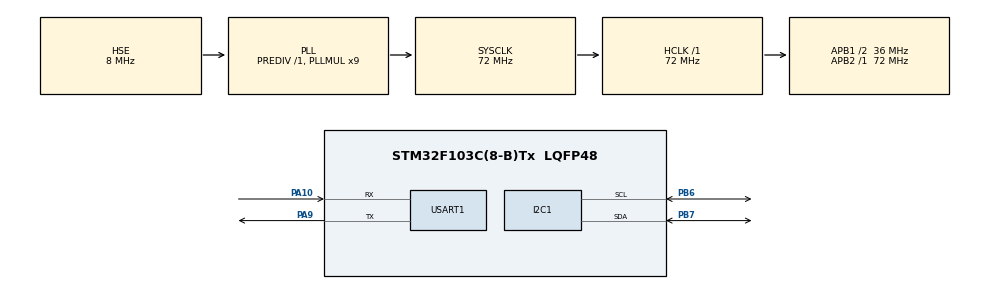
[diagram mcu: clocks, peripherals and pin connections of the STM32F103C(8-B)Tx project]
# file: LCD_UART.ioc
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Mcu.Family=STM32F1
Mcu.Name=STM32F103C(8-B)Tx
Mcu.Package=LQFP48
NVIC.PriorityGroup=NVIC_PRIORITYGROUP_4
NVIC.USART1_IRQn=true\:1\:0\:true\:false\:true\:true\:true\:true
PA10.Mode=Asynchronous
PA10.Signal=USART1_RX
PA13.Mode=Serial_Wire
PA13.Signal=SYS_JTMS-SWDIO
PA14.Mode=Serial_Wire
PA14.Signal=SYS_JTCK-SWCLK
PA9.Mode=Asynchronous
PA9.Signal=USART1_TX
PB6.Mode=I2C
PB6.Signal=I2C1_SCL
PB7.Mode=I2C
PB7.Signal=I2C1_SDA
PD0-OSC_IN.Mode=HSE-External-Oscillator
PD0-OSC_IN.Signal=RCC_OSC_IN
PD1-OSC_OUT.Mode=HSE-External-Oscillator
PD1-OSC_OUT.Signal=RCC_OSC_OUT
ProjectManager.HeapSize=0x200
ProjectManager.StackSize=0x400
ProjectManager.TargetToolchain=CMake
RCC.AHBFreq_Value=72000000
RCC.APB1CLKDivider=RCC_HCLK_DIV2
RCC.APB1Freq_Value=36000000
RCC.APB1TimFreq_Value=72000000
RCC.APB2Freq_Value=72000000
RCC.APB2TimFreq_Value=72000000
RCC.HCLKFreq_Value=72000000
RCC.PLLMUL=RCC_PLL_MUL9
RCC.PLLSourceVirtual=RCC_PLLSOURCE_HSE
RCC.SYSCLKFreq_VALUE=72000000
RCC.SYSCLKSource=RCC_SYSCLKSOURCE_PLLCLK
RCC.USBFreq_Value=72000000
USART1.VirtualMode=VM_ASYNC
board=custom

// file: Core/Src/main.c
/* USER CODE BEGIN Header */
/**
 ******************************************************************************
 * @file           : main.c
 * @brief          : Main program body
 ******************************************************************************
 * @attention
 *
 * Copyright (c) 2025 STMicroelectronics.
 * All rights reserved.
 *
 * This software is licensed under terms that can be found in the LICENSE file
 * in the root directory of this software component.
 * If no LICENSE file comes with this software, it is provided AS-IS.
 *
 ******************************************************************************
 */
/* USER CODE END Header */
#include "main.h"

/* USER CODE BEGIN Includes */
#include "LCD_I2C.h"
#include "UART_Handle.h"
#include "stdio.h"
/* USER CODE END Includes */

I2C_HandleTypeDef hi2c1;

UART_HandleTypeDef huart1;

/* USER CODE BEGIN PV */
uint8_t data_rx;
LCD_HandleTypeDef hlcd1;
char uart_buffer[17] = "";
uint8_t buffer_index = 0;
/* USER CODE END PV */

void SystemClock_Config(void);
static void MX_GPIO_Init(void);
static void MX_I2C1_Init(void);
static void MX_USART1_UART_Init(void);

/* USER CODE BEGIN 0 */
void HAL_UART_RxCpltCallback(UART_HandleTypeDef *huart)
{
  if (huart->Instance == huart1.Instance)
  {
    UART_Receive_Rx(&data_rx);
    HAL_UART_Receive_IT(&huart1, &data_rx, 1);
  }
}
/* USER CODE END 0 */

int main(void)
{

  /* MCU Configuration--------------------------------------------------------*/

  /* Reset of all peripherals, Initializes the Flash interface and the Systick. */
  HAL_Init();

  /* Configure the system clock */
  SystemClock_Config();

  /* Initialize all configured peripherals */
  MX_GPIO_Init();
  MX_I2C1_Init();
  MX_USART1_UART_Init();
  /* USER CODE BEGIN 2 */
  HAL_UART_Receive_IT(&huart1, &data_rx, 1);
  UART_Handle_Init();

  /* LCD Init */
  LCD_Init(&hlcd1, &hi2c1, LCD_ADDR);
  LCD_Display(&hlcd1);
  LCD_Backlight(&hlcd1);
  LCD_Clear_Display(&hlcd1);

  LCD_SetCursor(&hlcd1, 0, 0);
  LCD_Print(&hlcd1, "UART LCD");

  /* USER CODE END 2 */

  /* Infinite loop */
  while (1)
  {

    /* USER CODE BEGIN 3 */
    if (UART_Handle_Available() > 0)
    {
      uint8_t received_data = UART_Handle_Read();

      // Chỉ thêm ký tự in được vào buffer
      if (received_data >= 32 && received_data <= 126 && buffer_index < 16)
      {
        uart_buffer[buffer_index++] = received_data;
        uart_buffer[buffer_index] = '\0'; // Luôn kết thúc chuỗi
      }

      // Reset buffer khi nhận Enter hoặc đầy
      if (received_data == '\r' || received_data == '\n' || buffer_index >= 16)
      {
        // Hiển thị chuỗi đã nhận trước khi reset
        LCD_Clear_Display(&hlcd1);
        LCD_SetCursor(&hlcd1, 0, 0);
        LCD_Print(&hlcd1, "Received:");
        LCD_SetCursor(&hlcd1, 0, 1);
        LCD_Print(&hlcd1, uart_buffer);

        // Reset buffer
        buffer_index = 0;
        uart_buffer[0] = '\0';

        HAL_Delay(2000); // Hiển thị trong 2 giây
        LCD_Clear_Display(&hlcd1);
        LCD_SetCursor(&hlcd1, 0, 0);
        LCD_Print(&hlcd1, "Ready...");
      }
      else
      {
        // Hiển thị tạm thời ký tự vừa nhận
        LCD_Clear_Display(&hlcd1);
        LCD_SetCursor(&hlcd1, 0, 0);
        LCD_Print(&hlcd1, "Typing:");
        LCD_SetCursor(&hlcd1, 0, 1);
        LCD_Print(&hlcd1, uart_buffer);
      }

      HAL_UART_Transmit(&huart1, &received_data, 1, 1000);
    }
    HAL_Delay(10);
  }
  /* USER CODE END 3 */
}

void SystemClock_Config(void)
{
  RCC_OscInitTypeDef RCC_OscInitStruct = {0};
  RCC_ClkInitTypeDef RCC_ClkInitStruct = {0};

  /** Initializes the RCC Oscillators according to the specified parameters
   * in the RCC_OscInitTypeDef structure.
   */
  RCC_OscInitStruct.OscillatorType = RCC_OSCILLATORTYPE_HSE;
  RCC_OscInitStruct.HSEState = RCC_HSE_ON;
  RCC_OscInitStruct.HSEPredivValue = RCC_HSE_PREDIV_DIV1;
  RCC_OscInitStruct.HSIState = RCC_HSI_ON;
  RCC_OscInitStruct.PLL.PLLState = RCC_PLL_ON;
  RCC_OscInitStruct.PLL.PLLSource = RCC_PLLSOURCE_HSE;
  RCC_OscInitStruct.PLL.PLLMUL = RCC_PLL_MUL9;
  if (HAL_RCC_OscConfig(&RCC_OscInitStruct) != HAL_OK)
  {
    Error_Handler();
  }

  /** Initializes the CPU, AHB and APB buses clocks
   */
  RCC_ClkInitStruct.ClockType = RCC_CLOCKTYPE_HCLK | RCC_CLOCKTYPE_SYSCLK | RCC_CLOCKTYPE_PCLK1 | RCC_CLOCKTYPE_PCLK2;
  RCC_ClkInitStruct.SYSCLKSource = RCC_SYSCLKSOURCE_PLLCLK;
  RCC_ClkInitStruct.AHBCLKDivider = RCC_SYSCLK_DIV1;
  RCC_ClkInitStruct.APB1CLKDivider = RCC_HCLK_DIV2;
  RCC_ClkInitStruct.APB2CLKDivider = RCC_HCLK_DIV1;

  if (HAL_RCC_ClockConfig(&RCC_ClkInitStruct, FLASH_LATENCY_2) != HAL_OK)
  {
    Error_Handler();
  }
}

static void MX_I2C1_Init(void)
{

  hi2c1.Instance = I2C1;
  hi2c1.Init.ClockSpeed = 100000;
  hi2c1.Init.DutyCycle = I2C_DUTYCYCLE_2;
  hi2c1.Init.OwnAddress1 = 0;
  hi2c1.Init.AddressingMode = I2C_ADDRESSINGMODE_7BIT;
  hi2c1.Init.DualAddressMode = I2C_DUALADDRESS_DISABLE;
  hi2c1.Init.OwnAddress2 = 0;
  hi2c1.Init.GeneralCallMode = I2C_GENERALCALL_DISABLE;
  hi2c1.Init.NoStretchMode = I2C_NOSTRETCH_DISABLE;
  if (HAL_I2C_Init(&hi2c1) != HAL_OK)
  {
    Error_Handler();
  }
}

static void MX_USART1_UART_Init(void)
{

  huart1.Instance = USART1;
  huart1.Init.BaudRate = 115200;
  huart1.Init.WordLength = UART_WORDLENGTH_8B;
  huart1.Init.StopBits = UART_STOPBITS_1;
  huart1.Init.Parity = UART_PARITY_NONE;
  huart1.Init.Mode = UART_MODE_TX_RX;
  huart1.Init.HwFlowCtl = UART_HWCONTROL_NONE;
  huart1.Init.OverSampling = UART_OVERSAMPLING_16;
  if (HAL_UART_Init(&huart1) != HAL_OK)
  {
    Error_Handler();
  }
}

static void MX_GPIO_Init(void)
{

  /* GPIO Ports Clock Enable */
  __HAL_RCC_GPIOD_CLK_ENABLE();
  __HAL_RCC_GPIOA_CLK_ENABLE();
  __HAL_RCC_GPIOB_CLK_ENABLE();

}

void Error_Handler(void)
{
  __disable_irq();
  while (1)
  {
  }
}
